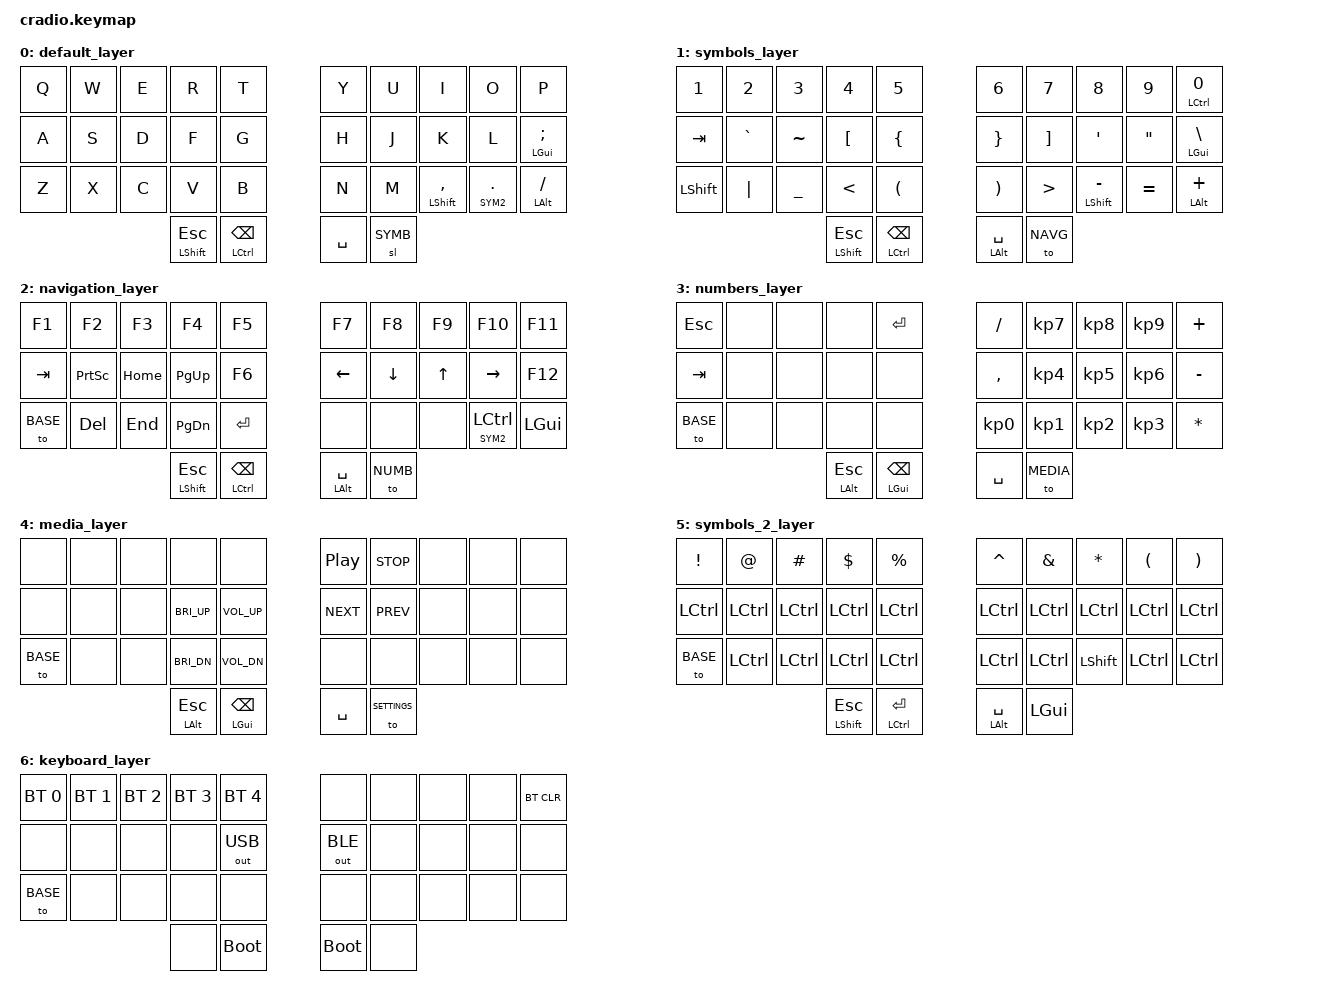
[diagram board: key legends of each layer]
/* KEY POSITIONS
 * From https://github.com/caksoylar/zmk-config/blob/main/config/combos.dtsi
 *
 * ╭────────────────────╮ ╭────────────────────╮
 * │  0   1   2   3   4 │ │  5   6   7   8   9 │
 * │ 10  11  12  13  14 │ │ 15  16  17  18  19 │
 * │ 20  21  22  23  24 │ │ 25  26  27  28  29 │
 * ╰───────────╮ 30  31 │ │ 32  33 ╭───────────╯
 *             ╰────────╯ ╰────────╯
 */

/* Layer 0
*  ╭────────────────────╮ ╭────────────────────╮
*  │  Q   W   E   R   T │ │  Y   U   I   O   P │
*  │  A   S   D   F   G │ │  H   J   K   L  X3 │
*  │  Z   X   C   V   B │ │  N   M  X4  X5  X6 │
*  ╰───────────╮ X1  X2 │ │ X7  X8 ╭───────────╯
*              ╰────────╯ ╰────────╯
*  X1: LSft_(Esc)         X3: LGui_T(;)
*  X2: LCtr_T(Backspc)    X4: LSft_T(<)
*                         X5: LT_5(>)
*                         X6: LAlt_T(?)
*                         X7: Space
*                         X8: OSL(1)
*/

/* Layer 1
*  ╭────────────────────╮ ╭────────────────────╮
*  │  1   2   3   4   5 │ │  6   7   8   9  X5 │
*  │ X1   `   ~   [   { │ │  }   ]   '   "  X6 │
*  │ X2   |   _   <   ( │ │  )   >  X7   =  X8 │
*  ╰───────────╮ X3  X4 │ │ X9 X10 ╭───────────╯
*              ╰────────╯ ╰────────╯
*  X1: Tab                X5: LCtrl_T())
*  X2: Shift              X6: LGui_T(\)
*  X3: LSft_T(Esc)        X7: LSft_T(-)
*  X4: LCtr_T(Backspc)    X8: LAlt_T(+)
*                         X9: LAlt_T(Space)
*                         X10: TO(2)
*/

#include <behaviors.dtsi>
#include <dt-bindings/zmk/keys.h>
#include <dt-bindings/zmk/bt.h>
#include <dt-bindings/zmk/outputs.h>

#define BASE 0
#define SYMB 1
#define NAVG 2
#define NUMB 3
#define MEDIA 4
#define SYM2 5
#define SETTINGS 6

/ {
    keymap {
      compatible = "zmk,keymap";

      default_layer {
        bindings = <
          &kp Q  &kp W  &kp E  &kp R  &kp T  /* ----- */  &kp Y  &kp U  &kp I            &kp O         &kp P
          &kp A  &kp S  &kp D  &kp F  &kp G  /* ----- */  &kp H  &kp J  &kp K            &kp L         &mt LGUI SEMICOLON
          &kp Z  &kp X  &kp C  &kp V  &kp B  /* ----- */  &kp N  &kp M  &mt LSHIFT COMMA &lt SYM2 DOT  &mt LALT SLASH
            &mt LSHIFT ESC   &mt LCTRL BSPC  /* ----- */  &kp SPACE     &sl SYMB
        >;
      };

      symbols_layer {
        bindings = <
          &kp N1      &kp N2     &kp N3      &kp N4    &kp N5    /* ----- */  &kp N6    &kp N7    &kp N8            &kp N9     &mt LCTRL N0
          &kp TAB     &kp GRAVE  &kp TILDE   &kp LBKT  &kp LBRC  /* ----- */  &kp RBRC  &kp RBKT  &kp SQT           &kp DQT    &mt LGUI BSLH
          &kp LSHIFT  &kp PIPE   &kp UNDER   &kp LT    &kp LPAR  /* ----- */  &kp RPAR  &kp GT    &mt LSHIFT MINUS  &kp EQUAL  &mt LALT PLUS
                            &mt LSHIFT ESC   &mt LCTRL BSPC      /* ----- */  &mt LALT SPACE      &to NAVG
        >;
      };

      navigation_layer {
        bindings = <
          &kp F1    &kp F2     &kp F3   &kp F4       &kp F5      /* ----- */      &kp F7    &kp F8    &kp F9  &kp F10         &kp F11
          &kp TAB   &kp PSCRN  &kp HOME &kp PG_UP    &kp F6      /* ----- */      &kp LEFT  &kp DOWN  &kp UP  &kp RIGHT       &kp F12
          &to BASE  &kp DEL    &kp END  &kp PG_DN    &kp ENTER   /* ----- */      &none     &none     &none   &lt SYM2 LCTRL  &kp LGUI
                            &mt LSHIFT ESC   &mt LCTRL BSPC      /* ----- */        &mt LALT SPACE      &to NUMB
        >;
      };

      numbers_layer {
        bindings = <
          &kp ESC   &none  &none  &none  &kp ENTER  /* ----- */  &kp FSLH   &kp KP_N7  &kp KP_N8  &kp KP_N9  &kp PLUS
          &kp TAB   &none  &none  &none  &none      /* ----- */  &kp COMMA  &kp KP_N4  &kp KP_N5  &kp KP_N6  &kp MINUS
          &to BASE  &none  &none  &none  &none      /* ----- */  &kp KP_N0  &kp KP_N1  &kp KP_N2  &kp KP_N3  &kp STAR
                     &mt LALT ESC   &mt LGUI BSPC   /* ----- */   &kp SPACE   &to MEDIA
        >;
      };

      media_layer {
        bindings = <
          &none     &none  &none  &none         &none         /* ----- */  &kp C_PLAY_PAUSE  &kp C_STOP  &none  &none  &none
          &none     &none  &none  &kp C_BRI_UP  &kp C_VOL_UP  /* ----- */  &kp C_NEXT        &kp C_PREV  &none  &none  &none
          &to BASE  &none  &none  &kp C_BRI_DN  &kp C_VOL_DN  /* ----- */  &none             &none       &none  &none  &none
                          &mt LALT ESC   &mt LGUI BSPC        /* ----- */      &kp SPACE   &to SETTINGS
        >;
      };

      symbols_2_layer {
        bindings = <
          &kp EXCL   &kp AT     &kp POUND  &kp DOLLAR  &kp PRCNT  /* ----- */  &kp CARET  &kp AMPS   &kp STAR    &kp LPAR   &kp RPAR
          &kp LCTRL  &kp LCTRL  &kp LCTRL  &kp LCTRL   &kp LCTRL  /* ----- */  &kp LCTRL  &kp LCTRL  &kp LCTRL   &kp LCTRL  &kp LCTRL
          &to BASE   &kp LCTRL  &kp LCTRL  &kp LCTRL   &kp LCTRL  /* ----- */  &kp LCTRL  &kp LCTRL  &kp LSHIFT  &kp LCTRL  &kp LCTRL
                            &mt LSHIFT ESC   &mt LCTRL ENTER                   &mt LALT SPACE  &kp LGUI
        >;
      };

      keyboard_layer {
        bindings = <
          &bt BT_SEL 0 &bt BT_SEL 1  &bt BT_SEL 2  &bt BT_SEL 3  &bt BT_SEL 4  /* ----- */  &none         &none  &none  &none  &bt BT_CLR
          &none        &none         &none         &none         &out OUT_USB  /* ----- */  &out OUT_BLE  &none  &none  &none  &none
          &to BASE     &none         &none         &none         &none         /* ----- */  &none         &none  &none  &none  &none
                            &none   &bootloader                                                &bootloader   &none
        >;
      };
    };
  };

// vim: tabstop=2 softtabstop=2 shiftwidth=2
